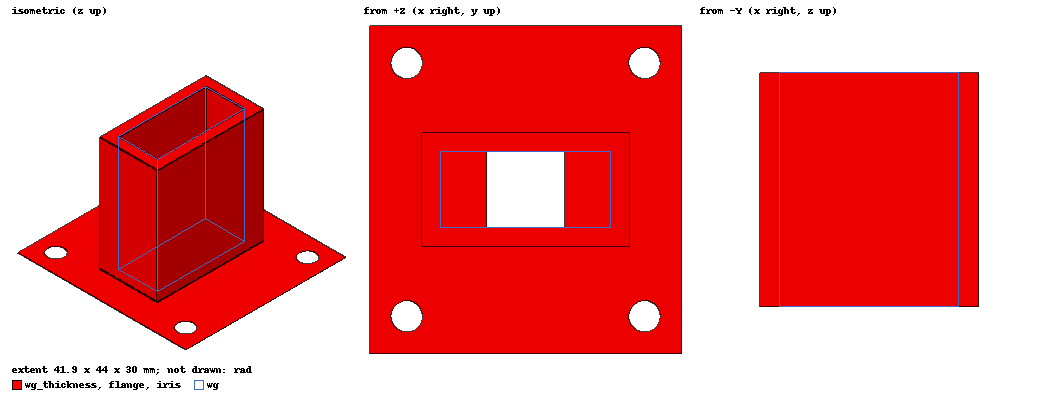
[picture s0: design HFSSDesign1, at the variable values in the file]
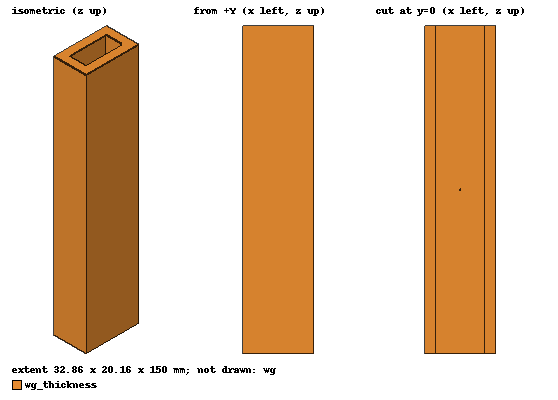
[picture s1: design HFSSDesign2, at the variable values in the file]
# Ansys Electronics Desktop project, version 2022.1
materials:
  vacuum: permittivity=1
  copper: permeability=0.999991 conductivity=58000000
  air: permittivity=1.0006 permeability=1.0000004
  pec: conductivity=1e+30

design HFSSDesign1 (HFSS, DrivenModal, model units mm)
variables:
  f = 10GHz
  la = c0/f
  a_wg = 22.86mm
  b_wg = 10.16mm
  l_wg = 30mm
  t_wg = 1mm
  w_iris = 10.5mm
  w_diaph = (a_wg-w_iris)/2
  a_fg = 41.9mm
  b_fg = 44mm
  spx_scr = 5mm
  spy_scr = 5mm
  r_scr = 2.1mm
  t_diaph = 100um
  t_fg = 100um
  a_box = a_wg+5mm
  b_box = b_wg+5mm
  l_box = l_wg
  rad_dist = 10mm
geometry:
  wg_thickness [copper] = box(corner=(-a_box/2, -b_box/2, 0mm), size=(a_box, b_box, l_box))
  wg [air] = box(corner=(-a_wg/2, -b_wg/2, 0mm), size=(a_wg, b_wg, l_wg))
  flange [copper] = box(corner=(-a_fg/2, -b_fg/2, 0mm), size=(a_fg, b_fg, t_fg))
  iris [copper] = box(corner=(-a_wg/2, -b_wg/2, 0mm), size=(a_wg, b_wg, t_diaph))
  Box5 = box(corner=(-w_iris/2, -b_wg/2, 0mm), size=(w_iris, b_wg, t_diaph))
  iris.subtract(Box5)
  Box1_1 = wg_thickness.copy()
  flange.subtract(Box1_1)
  Box2_1 = wg.copy()
  wg_thickness.subtract(Box2_1)
  scr1 = cylinder(axis=Z, base_centre=(a_fg/2-spx_scr, b_fg/2-spy_scr, 0mm), radius=r_scr, height=t_fg)
  scr2 = scr1.duplicate_mirror(point=(0mm, 0mm, 0mm), normal=(0mm, 1mm, 0mm))
  scr4 = scr1.duplicate_mirror(point=(0mm, 0mm, 0mm), normal=(1mm, 0mm, 0mm))
  scr3 = scr2.duplicate_mirror(point=(0mm, 0mm, 0mm), normal=(1mm, 0mm, 0mm))
  flange.subtract(scr1..scr4)
  rad [air] = box(corner=(-(a_fg+rad_dist)/2, -(b_fg+rad_dist)/2, -rad_dist), size=(a_fg+rad_dist, b_fg+rad_dist, rad_dist+l_wg))
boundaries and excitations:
  Rad1: Radiation Faces=rad.face(all 6)
  1: Wave Port Faces=wg.face(+z) NumModes=1 DeembedDist=l_wg-t_diaph Modes{Mode1{IntLine{(0, -5.08, 30) -> (0, 5.08, 30)} CharImp=Zpi RenormImp=50ohm}}
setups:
  Setup1: HfssDriven Frequency=12GHz MaxDeltaS=0.02 MaximumPasses=6 MinimumPasses=1 MinimumConvergedPasses=1 PercentRefinement=30 BasisOrder=1 PortAccuracy=2 DrivenSolverType="Direct Solver"
    sweep Sweep: 8GHz to 12GHz, 401 points; Type=Interpolating SaveFields InterpTolerance=0.5 InterpMaxSolns=250 InterpUsePortImped=false PassivityErrorTolerance=0.0001
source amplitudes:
  1:1: 1W 0deg
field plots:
  Mag_E1: E Field in rad on Setup1 : LastAdaptive at Freq=12GHz Phase=0deg
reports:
  S Parameter Plot 1: mag(S(1,1)), ang_deg(S(1,1)) vs Freq on Setup1 : Sweep; markers MX1 at x=9.9970717e+09

design HFSSDesign2 (HFSS, DrivenModal, model units mm)
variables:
  f = 10GHz
  lambda = c0/f
  a_wg = 22.86mm
  b_wg = 10.16mm
  l_wg = 150mm
  w_post = 1mm
  t_post = 0.1mm
  t_wg = 5mm
  l_post = (l_wg-w_post)/2
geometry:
  wg [air] = box(corner=(-a_wg/2, -b_wg/2, 0mm), size=(a_wg, b_wg, l_wg))
  wg_thickness [copper] = box(corner=(-(a_wg+2*t_wg)/2, -(b_wg+2*t_wg)/2, 0mm), size=(a_wg+2*t_wg, b_wg+2*t_wg, l_wg))
  post [copper] = box(corner=(-t_post/2, -b_wg/2, l_post), size=(t_post, b_wg, w_post))
  Box1_1 = wg.copy()
  wg_thickness.subtract(Box1_1)
  post_1 = post.copy()
  wg.subtract(post_1)
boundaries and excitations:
  1: Wave Port Faces=wg.face(+z) NumModes=1 DeembedDist=l_post Modes{Mode1{IntLine{(0, -5.08, 150) -> (0, 5.08, 150)} CharImp=Zpi RenormImp=50ohm}}
  2: Wave Port Faces=wg.face(-z) NumModes=1 DeembedDist=l_post Modes{Mode1{IntLine{(0, -5.08, 0) -> (0, 5.08, 0)} CharImp=Zpi RenormImp=50ohm}}
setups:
  Setup1: HfssDriven Frequency=12GHz MaxDeltaS=0.02 MaximumPasses=6 MinimumPasses=1 MinimumConvergedPasses=1 PercentRefinement=30 BasisOrder=1 PortAccuracy=2 DrivenSolverType="Direct Solver"
    sweep Sweep: 9.5GHz to 10.5GHz, 3 points; Type=Interpolating SaveFields InterpTolerance=0.5 InterpMaxSolns=250 InterpUsePortImped=false PassivityErrorTolerance=0.0001
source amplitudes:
  1:1: 1W 0deg
  2:1: 0W 0deg
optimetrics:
  ParametricSetup1: Parametric Sim._Setups=[Setup1]
    sweep w_post: LIN 1mm 149mm 2mm
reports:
  Z Parameter Plot 1: re(Z(1,1)), im(Z(1,1)) vs Freq on Setup1 : Sweep
  Z Parameter Plot 2: re(Z(1,1)), im(Z(1,1)) vs w_post on Setup1 : Sweep [Freq=10GHz]
